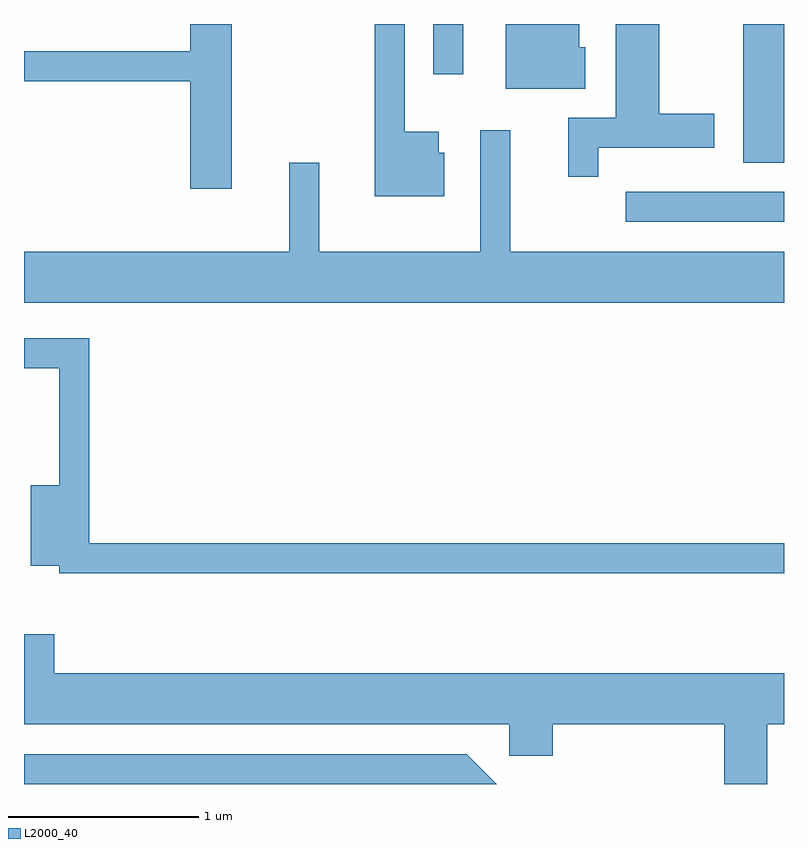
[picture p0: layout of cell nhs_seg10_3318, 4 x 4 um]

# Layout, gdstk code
import gdstk
lib = gdstk.Library(unit=1e-6, precision=1e-09)
def R(c, l, rs):  # rectangles x0, y0, x1, y1
    for r in rs: c.add(gdstk.rectangle(r[:2], r[2:], *l))
def P(c, l, *ps):  # polygons
    for p in ps: c.add(gdstk.Polygon(p, *l))
L2000_40 = (2000, 40)

nhs_seg10_3318 = lib.new_cell('nhs_seg10_3318')
R(nhs_seg10_3318, L2000_40, [(286.778,2085.481,287.611,2085.639), (287.396,2085.791,287.611,2086.522), (285.766,2086.258,285.924,2086.522)])
P(nhs_seg10_3318, L2000_40, [(284.704,2086.522),(284.486,2086.522),(284.486,2086.379),(283.611,2086.379),(283.611,2086.221),(284.486,2086.221),(284.486,2085.656),(284.704,2085.656)],
  [(286.564,2086.399),(286.534,2086.399),(286.534,2086.522),(286.146,2086.522),(286.146,2086.181),(286.564,2086.181)],
  [(285.824,2085.844),(285.794,2085.844),(285.794,2085.954),(285.614,2085.954),(285.614,2086.522),(285.456,2086.522),(285.456,2085.616),(285.824,2085.616)],
  [(286.634,2085.871),(287.244,2085.871),(287.244,2086.049),(286.954,2086.049),(286.954,2086.522),(286.726,2086.522),(286.726,2086.029),(286.476,2086.029),(286.476,2085.718),(286.634,2085.718)],
  [(287.611,2085.324),(286.169,2085.324),(286.169,2085.963),(286.011,2085.963),(286.011,2085.324),(285.164,2085.324),(285.164,2085.793),(285.006,2085.793),(285.006,2085.324),(283.611,2085.324),(283.611,2085.056),(287.611,2085.056)],
  [(287.611,2083.789),(283.954,2083.789),(283.954,2084.869),(283.611,2084.869),(283.611,2084.711),(283.796,2084.711),(283.796,2084.094),(283.646,2084.094),(283.646,2083.671),(283.796,2083.671),(283.796,2083.631),(287.611,2083.631)],
  [(287.524,2082.836),(287.611,2082.836),(287.611,2083.104),(283.769,2083.104),(283.769,2083.309),(283.611,2083.309),(283.611,2082.836),(286.166,2082.836),(286.166,2082.671),(286.394,2082.671),(286.394,2082.836),(287.296,2082.836),(287.296,2082.522),(287.524,2082.522)],
  [(285.942,2082.679),(283.611,2082.679),(283.611,2082.522),(286.099,2082.522)])

lib.write_gds('nhs_seg10_3318.gds')
